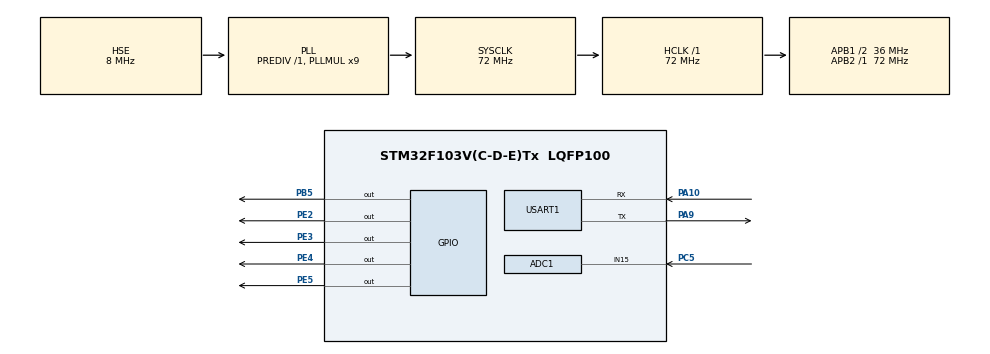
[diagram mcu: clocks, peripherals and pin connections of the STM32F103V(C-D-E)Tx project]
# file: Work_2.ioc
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ADC1.Channel-0\#ChannelRegularConversion=ADC_CHANNEL_15
ADC1.ContinuousConvMode=ENABLE
ADC1.DataAlign=ADC_DATAALIGN_RIGHT
ADC1.DiscontinuousConvMode=DISABLE
ADC1.EnableAnalogWatchDog=false
ADC1.EnableRegularConversion=ENABLE
ADC1.ExternalTrigConv=ADC_SOFTWARE_START
ADC1.InjNumberOfConversion=0
ADC1.NbrOfConversion=1
ADC1.NbrOfConversionFlag=1
ADC1.Rank-0\#ChannelRegularConversion=1
ADC1.SamplingTime-0\#ChannelRegularConversion=ADC_SAMPLETIME_1CYCLE_5
ADC1.ScanConvMode=ADC_SCAN_DISABLE
ADC1.master=1
Dma.ADC1.0.Direction=DMA_PERIPH_TO_MEMORY
Dma.ADC1.0.Instance=DMA1_Channel1
Dma.ADC1.0.MemDataAlignment=DMA_MDATAALIGN_WORD
Dma.ADC1.0.MemInc=DMA_MINC_ENABLE
Dma.ADC1.0.Mode=DMA_NORMAL
Dma.ADC1.0.PeriphDataAlignment=DMA_PDATAALIGN_WORD
Dma.ADC1.0.PeriphInc=DMA_PINC_DISABLE
Dma.ADC1.0.Priority=DMA_PRIORITY_LOW
Dma.Request0=ADC1
Mcu.Family=STM32F1
Mcu.Name=STM32F103V(C-D-E)Tx
Mcu.Package=LQFP100
NVIC.DMA1_Channel1_IRQn=true\:0\:0\:false\:false\:true\:false
NVIC.PriorityGroup=NVIC_PRIORITYGROUP_4
NVIC.TIM6_IRQn=true\:0\:0\:false\:false\:true\:true
NVIC.USART1_IRQn=true\:0\:0\:false\:false\:true\:true
OSC_IN.Mode=HSE-External-Oscillator
OSC_IN.Signal=RCC_OSC_IN
OSC_OUT.Mode=HSE-External-Oscillator
OSC_OUT.Signal=RCC_OSC_OUT
PA10.Mode=Asynchronous
PA10.Signal=USART1_RX
PA9.Mode=Asynchronous
PA9.Signal=USART1_TX
PB5.Signal=GPIO_Output
PC5.Signal=ADCx_IN15
PE2.Signal=GPIO_Output
PE3.Signal=GPIO_Output
PE4.Signal=GPIO_Output
PE5.Signal=GPIO_Output
ProjectManager.HeapSize=0x200
ProjectManager.StackSize=0x400
ProjectManager.TargetToolchain=EWARM
RCC.ADCPresc=RCC_ADCPCLK2_DIV6
RCC.AHBFreq_Value=72000000
RCC.APB1CLKDivider=RCC_HCLK_DIV2
RCC.APB1Freq_Value=36000000
RCC.APB1TimFreq_Value=72000000
RCC.APB2Freq_Value=72000000
RCC.APB2TimFreq_Value=72000000
RCC.HCLKFreq_Value=72000000
RCC.PLLMUL=RCC_PLL_MUL9
RCC.PLLSourceVirtual=RCC_PLLSOURCE_HSE
RCC.SYSCLKFreq_VALUE=72000000
RCC.SYSCLKSource=RCC_SYSCLKSOURCE_PLLCLK
RCC.USBFreq_Value=72000000
SH.ADCx_IN15.0=ADC1_IN15,IN15
TIM6.AutoReloadPreload=TIM_AUTORELOAD_PRELOAD_ENABLE
TIM6.Period=199
TIM6.Prescaler=36000
USART1.VirtualMode=VM_ASYNC
VP_SYS_VS_ND.Mode=No_Debug
VP_TIM6_VS_ClockSourceINT.Mode=Enable_Timer
board=custom

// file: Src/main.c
/**
  ******************************************************************************
  * @file           : main.c
  * @brief          : Main program body
  ******************************************************************************
  ** This notice applies to any and all portions of this file
  * that are not between comment pairs USER CODE BEGIN and
  * USER CODE END. Other portions of this file, whether
  * inserted by the user or by software development tools
  * are owned by their respective copyright owners.
  *
  * COPYRIGHT(c) 2018 STMicroelectronics
  *
  * Redistribution and use in source and binary forms, with or without modification,
  * are permitted provided that the following conditions are met:
  *   1. Redistributions of source code must retain the above copyright notice,
  *      this list of conditions and the following disclaimer.
  *   2. Redistributions in binary form must reproduce the above copyright notice,
  *      this list of conditions and the following disclaimer in the documentation
  *      and/or other materials provided with the distribution.
  *   3. Neither the name of STMicroelectronics nor the names of its contributors
  *      may be used to endorse or promote products derived from this software
  *      without specific prior written permission.
  *
  * THIS SOFTWARE IS PROVIDED BY THE COPYRIGHT HOLDERS AND CONTRIBUTORS "AS IS"
  * AND ANY EXPRESS OR IMPLIED WARRANTIES, INCLUDING, BUT NOT LIMITED TO, THE
  * IMPLIED WARRANTIES OF MERCHANTABILITY AND FITNESS FOR A PARTICULAR PURPOSE ARE
  * DISCLAIMED. IN NO EVENT SHALL THE COPYRIGHT HOLDER OR CONTRIBUTORS BE LIABLE
  * FOR ANY DIRECT, INDIRECT, INCIDENTAL, SPECIAL, EXEMPLARY, OR CONSEQUENTIAL
  * DAMAGES (INCLUDING, BUT NOT LIMITED TO, PROCUREMENT OF SUBSTITUTE GOODS OR
  * SERVICES; LOSS OF USE, DATA, OR PROFITS; OR BUSINESS INTERRUPTION) HOWEVER
  * CAUSED AND ON ANY THEORY OF LIABILITY, WHETHER IN CONTRACT, STRICT LIABILITY,
  * OR TORT (INCLUDING NEGLIGENCE OR OTHERWISE) ARISING IN ANY WAY OUT OF THE USE
  * OF THIS SOFTWARE, EVEN IF ADVISED OF THE POSSIBILITY OF SUCH DAMAGE.
  *
  ******************************************************************************
  */
#include "main.h"
#include "stm32f1xx_hal.h"

ADC_HandleTypeDef hadc1;
DMA_HandleTypeDef hdma_adc1;

TIM_HandleTypeDef htim6;

UART_HandleTypeDef huart1;

/* USER CODE BEGIN PV */
/* Private variables ---------------------------------------------------------*/

/* USER CODE END PV */

void SystemClock_Config(void);
static void MX_GPIO_Init(void);
static void MX_DMA_Init(void);
static void MX_TIM6_Init(void);
static void MX_ADC1_Init(void);
static void MX_USART1_UART_Init(void);

/* USER CODE BEGIN PFP */
/* Private function prototypes -----------------------------------------------*/

/* USER CODE END PFP */

/* USER CODE BEGIN 0 */

int fputc(int ch, FILE *f)
{
  uint8_t temp[1]={ch};
  HAL_UART_Transmit(&huart1, temp, 1, 2);
  return(ch);
}

uint8_t cnt;
uint8_t flag;
void HAL_TIM_PeriodElapsedCallback(TIM_HandleTypeDef *htim)
{
     if(htim -> Instance == TIM6)
     {
       cnt+=1;
       if (flag==0 && cnt==2){
        printf("flag 0");
        HAL_GPIO_WritePin(GPIOB,GPIO_PIN_5,GPIO_PIN_SET);
       }
       else if (flag==1 && cnt==5){
         printf("flag 1");
        HAL_GPIO_WritePin(GPIOB,GPIO_PIN_5,GPIO_PIN_SET);
       }
       else if (flag==2 && cnt==8){
        HAL_GPIO_WritePin(GPIOB,GPIO_PIN_5,GPIO_PIN_SET);
       }
       else if (flag==3 && cnt==12){
        HAL_GPIO_WritePin(GPIOB,GPIO_PIN_5,GPIO_PIN_SET);
       }
       else if (flag==4 && cnt==15){
        HAL_GPIO_WritePin(GPIOB,GPIO_PIN_5,GPIO_PIN_SET);
        }
       if (cnt==20){
         HAL_GPIO_WritePin(GPIOB,GPIO_PIN_5,GPIO_PIN_RESET);
         cnt= 0;
       }
     }
}

/* USER CODE END 0 */

int main(void)
{

  /* MCU Configuration----------------------------------------------------------*/

  /* Reset of all peripherals, Initializes the Flash interface and the Systick. */
  HAL_Init();

  /* Configure the system clock */
  SystemClock_Config();

  /* Initialize all configured peripherals */
  MX_GPIO_Init();
  MX_DMA_Init();
  MX_TIM6_Init();
  MX_ADC1_Init();
  MX_USART1_UART_Init();

  /* Infinite loop */
  /* USER CODE BEGIN WHILE */
  HAL_TIM_Base_Start_IT(&htim6);
  uint32_t ADC_Value_32[1] = {0};
  uint16_t ADC_Value_16;
  HAL_GPIO_WritePin(GPIOB,GPIO_PIN_5,GPIO_PIN_SET);
  while (1)
  {

  /* USER CODE END WHILE */
  HAL_ADC_Start_DMA(&hadc1, ADC_Value_32, 1);
   ADC_Value_16=(uint16_t)ADC_Value_32[0];
   ADC_Value_16 &= 0xFFF;

   HAL_GPIO_WritePin(GPIOE,GPIO_PIN_2|GPIO_PIN_3|GPIO_PIN_4, GPIO_PIN_RESET);
   if(ADC_Value_16 <= 1000){
     HAL_GPIO_WritePin(GPIOE,GPIO_PIN_2, GPIO_PIN_SET);
     flag = 0;
   }
   else if (ADC_Value_16 <= 2000){
     HAL_GPIO_WritePin(GPIOE,GPIO_PIN_3, GPIO_PIN_SET);
     flag = 1;
   }
   else if (ADC_Value_16 <= 3000){
     HAL_GPIO_WritePin(GPIOE,GPIO_PIN_4, GPIO_PIN_SET);
     flag = 2;
   }
   else if (ADC_Value_16 <= 4000){
     HAL_GPIO_WritePin(GPIOE,GPIO_PIN_2|GPIO_PIN_3, GPIO_PIN_SET);
     flag = 3;
   }
   else{
     HAL_GPIO_WritePin(GPIOE,GPIO_PIN_2|GPIO_PIN_3|GPIO_PIN_4, GPIO_PIN_SET);
     flag = 4;

   }

  }

}

void SystemClock_Config(void)
{

  RCC_OscInitTypeDef RCC_OscInitStruct;
  RCC_ClkInitTypeDef RCC_ClkInitStruct;
  RCC_PeriphCLKInitTypeDef PeriphClkInit;

    /**Initializes the CPU, AHB and APB busses clocks
    */
  RCC_OscInitStruct.OscillatorType = RCC_OSCILLATORTYPE_HSE;
  RCC_OscInitStruct.HSEState = RCC_HSE_ON;
  RCC_OscInitStruct.HSEPredivValue = RCC_HSE_PREDIV_DIV1;
  RCC_OscInitStruct.HSIState = RCC_HSI_ON;
  RCC_OscInitStruct.PLL.PLLState = RCC_PLL_ON;
  RCC_OscInitStruct.PLL.PLLSource = RCC_PLLSOURCE_HSE;
  RCC_OscInitStruct.PLL.PLLMUL = RCC_PLL_MUL9;
  if (HAL_RCC_OscConfig(&RCC_OscInitStruct) != HAL_OK)
  {
    _Error_Handler(__FILE__, __LINE__);
  }

    /**Initializes the CPU, AHB and APB busses clocks
    */
  RCC_ClkInitStruct.ClockType = RCC_CLOCKTYPE_HCLK|RCC_CLOCKTYPE_SYSCLK
                              |RCC_CLOCKTYPE_PCLK1|RCC_CLOCKTYPE_PCLK2;
  RCC_ClkInitStruct.SYSCLKSource = RCC_SYSCLKSOURCE_PLLCLK;
  RCC_ClkInitStruct.AHBCLKDivider = RCC_SYSCLK_DIV1;
  RCC_ClkInitStruct.APB1CLKDivider = RCC_HCLK_DIV2;
  RCC_ClkInitStruct.APB2CLKDivider = RCC_HCLK_DIV1;

  if (HAL_RCC_ClockConfig(&RCC_ClkInitStruct, FLASH_LATENCY_2) != HAL_OK)
  {
    _Error_Handler(__FILE__, __LINE__);
  }

  PeriphClkInit.PeriphClockSelection = RCC_PERIPHCLK_ADC;
  PeriphClkInit.AdcClockSelection = RCC_ADCPCLK2_DIV6;
  if (HAL_RCCEx_PeriphCLKConfig(&PeriphClkInit) != HAL_OK)
  {
    _Error_Handler(__FILE__, __LINE__);
  }

    /**Configure the Systick interrupt time
    */
  HAL_SYSTICK_Config(HAL_RCC_GetHCLKFreq()/1000);

    /**Configure the Systick
    */
  HAL_SYSTICK_CLKSourceConfig(SYSTICK_CLKSOURCE_HCLK);

  /* SysTick_IRQn interrupt configuration */
  HAL_NVIC_SetPriority(SysTick_IRQn, 0, 0);
}

/* ADC1 init function */
static void MX_ADC1_Init(void)
{

  ADC_ChannelConfTypeDef sConfig;

    /**Common config
    */
  hadc1.Instance = ADC1;
  hadc1.Init.ScanConvMode = ADC_SCAN_DISABLE;
  hadc1.Init.ContinuousConvMode = ENABLE;
  hadc1.Init.DiscontinuousConvMode = DISABLE;
  hadc1.Init.ExternalTrigConv = ADC_SOFTWARE_START;
  hadc1.Init.DataAlign = ADC_DATAALIGN_RIGHT;
  hadc1.Init.NbrOfConversion = 1;
  if (HAL_ADC_Init(&hadc1) != HAL_OK)
  {
    _Error_Handler(__FILE__, __LINE__);
  }

    /**Configure Regular Channel
    */
  sConfig.Channel = ADC_CHANNEL_15;
  sConfig.Rank = ADC_REGULAR_RANK_1;
  sConfig.SamplingTime = ADC_SAMPLETIME_1CYCLE_5;
  if (HAL_ADC_ConfigChannel(&hadc1, &sConfig) != HAL_OK)
  {
    _Error_Handler(__FILE__, __LINE__);
  }

}

/* TIM6 init function */
static void MX_TIM6_Init(void)
{

  TIM_MasterConfigTypeDef sMasterConfig;

  htim6.Instance = TIM6;
  htim6.Init.Prescaler = 36000;
  htim6.Init.CounterMode = TIM_COUNTERMODE_UP;
  htim6.Init.Period = 199;
  htim6.Init.AutoReloadPreload = TIM_AUTORELOAD_PRELOAD_ENABLE;
  if (HAL_TIM_Base_Init(&htim6) != HAL_OK)
  {
    _Error_Handler(__FILE__, __LINE__);
  }

  sMasterConfig.MasterOutputTrigger = TIM_TRGO_RESET;
  sMasterConfig.MasterSlaveMode = TIM_MASTERSLAVEMODE_DISABLE;
  if (HAL_TIMEx_MasterConfigSynchronization(&htim6, &sMasterConfig) != HAL_OK)
  {
    _Error_Handler(__FILE__, __LINE__);
  }

}

/* USART1 init function */
static void MX_USART1_UART_Init(void)
{

  huart1.Instance = USART1;
  huart1.Init.BaudRate = 115200;
  huart1.Init.WordLength = UART_WORDLENGTH_8B;
  huart1.Init.StopBits = UART_STOPBITS_1;
  huart1.Init.Parity = UART_PARITY_NONE;
  huart1.Init.Mode = UART_MODE_TX_RX;
  huart1.Init.HwFlowCtl = UART_HWCONTROL_NONE;
  huart1.Init.OverSampling = UART_OVERSAMPLING_16;
  if (HAL_UART_Init(&huart1) != HAL_OK)
  {
    _Error_Handler(__FILE__, __LINE__);
  }

}

static void MX_DMA_Init(void)
{
  /* DMA controller clock enable */
  __HAL_RCC_DMA1_CLK_ENABLE();

  /* DMA interrupt init */
  /* DMA1_Channel1_IRQn interrupt configuration */
  HAL_NVIC_SetPriority(DMA1_Channel1_IRQn, 0, 0);
  HAL_NVIC_EnableIRQ(DMA1_Channel1_IRQn);

}

/** Configure pins as
        * Analog
        * Input
        * Output
        * EVENT_OUT
        * EXTI
*/
static void MX_GPIO_Init(void)
{

  GPIO_InitTypeDef GPIO_InitStruct;

  /* GPIO Ports Clock Enable */
  __HAL_RCC_GPIOE_CLK_ENABLE();
  __HAL_RCC_GPIOC_CLK_ENABLE();
  __HAL_RCC_GPIOA_CLK_ENABLE();
  __HAL_RCC_GPIOB_CLK_ENABLE();

  /*Configure GPIO pin Output Level */
  HAL_GPIO_WritePin(GPIOE, GPIO_PIN_2|GPIO_PIN_3|GPIO_PIN_4|GPIO_PIN_5, GPIO_PIN_RESET);

  /*Configure GPIO pin Output Level */
  HAL_GPIO_WritePin(GPIOB, GPIO_PIN_5, GPIO_PIN_RESET);

  /*Configure GPIO pins : PE2 PE3 PE4 PE5 */
  GPIO_InitStruct.Pin = GPIO_PIN_2|GPIO_PIN_3|GPIO_PIN_4|GPIO_PIN_5;
  GPIO_InitStruct.Mode = GPIO_MODE_OUTPUT_PP;
  GPIO_InitStruct.Pull = GPIO_NOPULL;
  GPIO_InitStruct.Speed = GPIO_SPEED_FREQ_LOW;
  HAL_GPIO_Init(GPIOE, &GPIO_InitStruct);

  /*Configure GPIO pin : PB5 */
  GPIO_InitStruct.Pin = GPIO_PIN_5;
  GPIO_InitStruct.Mode = GPIO_MODE_OUTPUT_PP;
  GPIO_InitStruct.Pull = GPIO_NOPULL;
  GPIO_InitStruct.Speed = GPIO_SPEED_FREQ_LOW;
  HAL_GPIO_Init(GPIOB, &GPIO_InitStruct);

}

void _Error_Handler(char *file, int line)
{
  while(1)
  {
  }
}

/************************ (C) COPYRIGHT STMicroelectronics *****END OF FILE****/
